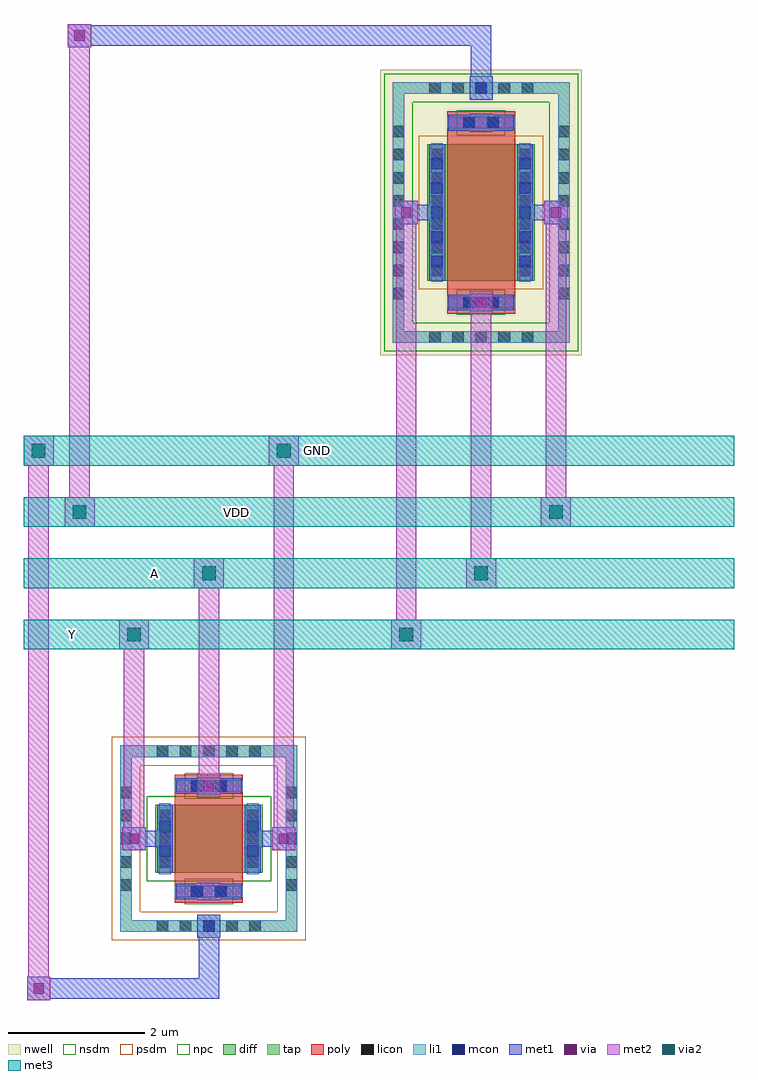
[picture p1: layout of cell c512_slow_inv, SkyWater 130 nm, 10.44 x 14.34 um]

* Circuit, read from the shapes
.subckt c512_slow_inv A GND VDD Y
XM1 GND A Y GND sky130_fd_pr__nfet_01v8 w=1 l=1
XM2 VDD A Y VDD sky130_fd_pr__pfet_01v8 w=2 l=1
.ends

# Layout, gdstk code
import gdstk
lib = gdstk.Library(unit=1e-6, precision=1e-09)
def R(c, l, rs):  # rectangles x0, y0, x1, y1
    for r in rs: c.add(gdstk.rectangle(r[:2], r[2:], *l))
def A(c, l, x, y, w, h, nx, ny, dx, dy):  # array of equal rectangles
    R(c, l, [(x+i*dx, y+j*dy, x+i*dx+w, y+j*dy+h) for i in range(nx) for j in range(ny)])
nwell = (64, 20)
diff = (65, 20)
tap = (65, 44)
poly = (66, 20)
licon = (66, 44)
li1 = (67, 20)
mcon = (67, 44)
met1 = (68, 20)
via = (68, 44)
met2 = (69, 20)
via2 = (69, 44)
met3 = (70, 20)
nsdm = (93, 44)
psdm = (94, 20)
npc = (95, 20)

c512_slow_inv = lib.new_cell('c512_slow_inv')
R(c512_slow_inv, nwell, [(5.52,7.105,8.48,11.295)])
R(c512_slow_inv, diff, [(2.21,-0.5,3.79,0.5), (6.21,8.2,7.79,10.2)])
R(c512_slow_inv, tap, [(1.7,-1.37,4.3,-1.2), (1.7,-1.2,1.87,1.2), (4.13,-1.2,4.3,1.2), (1.7,1.2,4.3,1.37), (5.7,7.285,8.3,7.455), (5.7,7.455,5.87,10.945), (8.13,7.455,8.3,10.945), (5.7,10.945,8.3,11.115)])
R(c512_slow_inv, poly, [(2.5,-0.94,3.5,0.94), (6.5,7.715,7.5,10.685)])
A(c512_slow_inv, licon, 2.235, -1.37, 0.17, 0.17, 5, 2, 0.34, 2.57)
A(c512_slow_inv, licon, 1.7, -0.765, 0.17, 0.17, 1, 5, 0, 0.34)
A(c512_slow_inv, licon, 4.13, -0.765, 0.17, 0.17, 1, 5, 0, 0.34)
A(c512_slow_inv, licon, 2.27, -0.425, 0.17, 0.17, 1, 3, 0, 0.34)
A(c512_slow_inv, licon, 3.56, -0.425, 0.17, 0.17, 1, 3, 0, 0.34)
A(c512_slow_inv, licon, 6.235, 7.285, 0.17, 0.17, 5, 2, 0.34, 3.66)
A(c512_slow_inv, licon, 5.7, 7.925, 0.17, 0.17, 1, 8, 0, 0.34)
A(c512_slow_inv, licon, 8.13, 7.925, 0.17, 0.17, 1, 8, 0, 0.34)
A(c512_slow_inv, licon, 6.27, 8.265, 0.17, 0.17, 1, 6, 0, 0.34)
A(c512_slow_inv, licon, 7.56, 8.265, 0.17, 0.17, 1, 6, 0, 0.34)
R(c512_slow_inv, licon, [(2.745,-0.86,2.915,-0.69), (3.085,-0.86,3.255,-0.69), (2.745,0.69,2.915,0.86), (3.085,0.69,3.255,0.86), (6.745,7.795,6.915,7.965), (7.085,7.795,7.255,7.965), (6.745,10.435,6.915,10.605), (7.085,10.435,7.255,10.605)])
R(c512_slow_inv, li1, [(2.83,-1.455,3.17,-1.37), (1.7,-1.37,4.3,-1.2), (1.7,-1.2,1.87,1.2), (2.83,-1.2,3.17,-1.115), (4.13,-1.2,4.3,1.2), (2.5,-0.86,3.5,-0.69), (2.27,-0.52,2.44,0.52), (3.56,-0.52,3.73,0.52), (2.5,0.69,3.5,0.86), (1.7,1.2,4.3,1.37), (5.7,7.285,8.3,7.455), (5.7,7.455,5.87,10.945), (8.13,7.455,8.3,10.945), (6.5,7.795,7.5,7.965), (6.27,8.18,6.44,10.22), (7.56,8.18,7.73,10.22), (6.5,10.435,7.5,10.605), (6.83,10.86,7.17,10.945), (5.7,10.945,8.3,11.115), (6.83,11.115,7.17,11.2)])
A(c512_slow_inv, mcon, 6.27, 8.395, 0.17, 0.17, 1, 5, 0, 0.36)
A(c512_slow_inv, mcon, 7.56, 8.395, 0.17, 0.17, 1, 5, 0, 0.36)
R(c512_slow_inv, mcon, [(2.915,-1.37,3.085,-1.2), (2.735,-0.86,2.905,-0.69), (3.095,-0.86,3.265,-0.69), (2.27,-0.265,2.44,-0.095), (3.56,-0.265,3.73,-0.095), (2.27,0.095,2.44,0.265), (3.56,0.095,3.73,0.265), (2.735,0.69,2.905,0.86), (3.095,0.69,3.265,0.86), (6.735,7.795,6.905,7.965), (7.095,7.795,7.265,7.965), (6.735,10.435,6.905,10.605), (7.095,10.435,7.265,10.605), (6.915,10.945,7.085,11.115)])
R(c512_slow_inv, met1, [(0.33,-2.37,0.67,-2.35), (0.33,-2.35,3.15,-2.05), (0.33,-2.05,0.67,-2.03), (2.85,-2.05,3.15,-1.455), (2.83,-1.455,3.17,-1.115), (2.83,-0.905,3.17,-0.89), (2.52,-0.89,3.48,-0.66), (2.83,-0.66,3.17,-0.645), (2.24,-0.5,2.47,-0.115), (3.53,-0.5,3.76,-0.115), (1.73,-0.17,2.07,-0.115), (3.93,-0.17,4.27,-0.115), (1.73,-0.115,2.47,0.115), (3.53,-0.115,4.27,0.115), (1.73,0.115,2.07,0.17), (2.24,0.115,2.47,0.5), (3.53,0.115,3.76,0.5), (3.93,0.115,4.27,0.17), (2.83,0.645,3.17,0.66), (2.52,0.66,3.48,0.89), (2.83,0.89,3.17,0.905), (6.83,7.75,7.17,7.765), (6.52,7.765,7.48,7.995), (6.83,7.995,7.17,8.01), (6.24,8.2,6.47,9.085), (7.53,8.2,7.76,9.085), (5.73,9.03,6.07,9.085), (7.93,9.03,8.27,9.085), (5.73,9.085,6.47,9.315), (7.53,9.085,8.27,9.315), (5.73,9.315,6.07,9.37), (6.24,9.315,6.47,10.2), (7.53,9.315,7.76,10.2), (7.93,9.315,8.27,9.37), (6.83,10.39,7.17,10.405), (6.52,10.405,7.48,10.635), (6.83,10.635,7.17,10.65), (6.83,10.86,7.17,11.2), (6.85,11.2,7.15,11.65), (0.93,11.63,1.27,11.65), (0.93,11.65,7.15,11.95), (0.93,11.95,1.27,11.97)])
R(c512_slow_inv, via, [(0.425,-2.275,0.575,-2.125), (1.825,-0.075,1.975,0.075), (4.025,-0.075,4.175,0.075), (2.925,0.7,3.075,0.85), (6.925,7.805,7.075,7.955), (5.825,9.125,5.975,9.275), (8.025,9.125,8.175,9.275), (1.025,11.725,1.175,11.875)])
R(c512_slow_inv, met2, [(0.33,-2.37,0.67,-2.03), (0.35,-2.03,0.65,5.48), (1.73,-0.17,2.07,0.17), (3.93,-0.17,4.27,0.17), (1.75,0.17,2.05,2.78), (3.95,0.17,4.25,5.48), (2.83,0.605,3.17,0.945), (2.85,0.945,3.15,3.68), (1.68,2.78,2.12,3.22), (5.68,2.78,6.12,3.22), (5.75,3.22,6.05,9.03), (2.78,3.68,3.22,4.12), (6.78,3.68,7.22,4.12), (6.85,4.12,7.15,7.71), (0.88,4.58,1.32,5.02), (7.88,4.58,8.32,5.02), (0.95,5.02,1.25,11.63), (7.95,5.02,8.25,9.03), (0.28,5.48,0.72,5.92), (3.88,5.48,4.32,5.92), (6.83,7.71,7.17,8.05), (5.73,9.03,6.07,9.37), (7.93,9.03,8.27,9.37), (0.93,11.63,1.27,11.97)])
R(c512_slow_inv, via2, [(1.8,2.9,2,3.1), (5.8,2.9,6,3.1), (2.9,3.8,3.1,4), (6.9,3.8,7.1,4), (1,4.7,1.2,4.9), (8,4.7,8.2,4.9), (0.4,5.6,0.6,5.8), (4,5.6,4.2,5.8)])
A(c512_slow_inv, met3, 0.28, 2.78, 10.44, 0.44, 1, 4, 0, 0.9)
R(c512_slow_inv, nsdm, [(2.085,-0.625,3.915,0.625), (5.575,7.16,8.425,7.58), (5.575,7.58,5.995,10.82), (8.005,7.58,8.425,10.82), (5.575,10.82,8.425,11.24)])
R(c512_slow_inv, psdm, [(1.575,-1.495,4.425,-1.075), (1.575,-1.075,1.995,1.075), (4.005,-1.075,4.425,1.075), (1.575,1.075,4.425,1.495), (6.085,8.075,7.915,10.325)])
R(c512_slow_inv, npc, [(2.645,-0.96,3.355,-0.59), (2.645,0.59,3.355,0.96), (6.645,7.695,7.355,8.065), (6.645,10.335,7.355,10.705)])
c512_slow_inv.add(gdstk.Label('Y', (1,3), layer=70, texttype=5))
c512_slow_inv.add(gdstk.Label('A', (2.2,3.9), layer=70, texttype=5))
c512_slow_inv.add(gdstk.Label('VDD', (3.4,4.8), layer=70, texttype=5))
c512_slow_inv.add(gdstk.Label('GND', (4.6,5.7), layer=70, texttype=5))

lib.write_gds('c512_slow_inv.gds')
